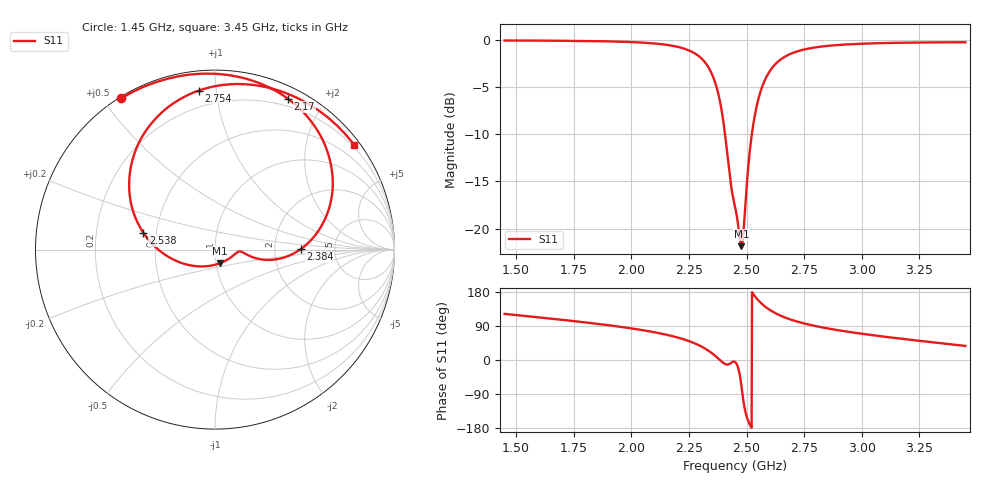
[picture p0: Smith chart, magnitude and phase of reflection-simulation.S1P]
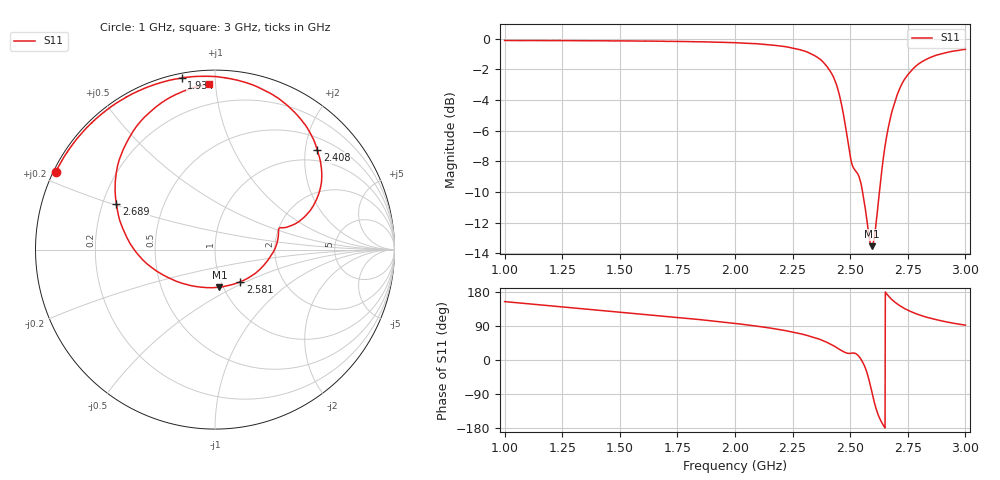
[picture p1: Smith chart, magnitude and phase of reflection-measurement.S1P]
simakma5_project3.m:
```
%% Initialization
close all; clear; clc; addpath(genpath(fullfile(pwd, 'Uni', 'grad', 'NKA', 'project3', 'script')));
s = settings;
s.matlab.appearance.figure.GraphicsTheme.TemporaryValue = "light";
fr = 2.45;
Z0 = 50;

%% Reflection coefficient
sim = sparameters(fullfile('data', 'reflection-simulation.S1P'));
f_sim = sim.Frequencies;
Gamma_sim = squeeze(sim.Parameters(1,1,:));

meas = sparameters(fullfile('data', 'reflection-measurement.S1P'));
f_meas = meas.Frequencies;
Gamma_meas = squeeze(meas.Parameters(1,1,:));

figure('Name', 'Reflection coefficint', 'Units', 'normalized', 'Position', [0, 0, 1, 1])
rfplot(sim)
hold on
rfplot(meas)
xline(fr, '--', num2str(fr))
yline(-10, '--', num2str(-10))
hold off
grid on
grid minor
xlim([max(f_sim(1), f_meas(1))*1e-9, min(f_sim(end), f_meas(end))*1e-9])
xlabel('Frequency [GHz]')
ylabel('|\Gamma| [dB]')
legend('Simulation', 'Measurement', 'location', 'southwest')
set(findall(gcf, '-property', 'FontSize'), 'FontSize', 26)
saveas(gcf, fullfile(pwd, '\Uni', '\grad', '\NKA', '\project3', '\report', '\src', '\reflection-coefficient'), 'epsc')

%% Input impedance
Zin_sim = 50*(1+Gamma_sim)./(1-Gamma_sim);
Zin_meas = 50*(1+Gamma_meas)./(1-Gamma_meas);

figure('Name', 'Input impedance', 'Units', 'normalized', 'Position', [0, 0, 1, 1])
plot(f_sim*1e-9, real(Zin_sim))
hold on
plot(f_sim*1e-9, imag(Zin_sim))
plot(f_meas*1e-9, real(Zin_meas))
plot(f_meas*1e-9, imag(Zin_meas))
xline(fr, '--', num2str(fr))
yline(50, '--', num2str(50))
hold off
grid on
grid minor
xlim([max(f_sim(1), f_meas(1))*1e-9, min(f_sim(end), f_meas(end))*1e-9])
xlabel('Frequency [GHz]')
ylabel('Input impedance [\Omega]')
legend('R_{in} (sim.)', 'X_{in} (sim.)', 'R_{in} (meas.)', 'X_{in} (meas.)', 'location', 'northwest')
set(findall(gcf, '-property', 'FontSize'), 'FontSize', 26)
saveas(gcf, fullfile(pwd, '\Uni', '\grad', '\NKA', '\project3', '\report', '\src', '\input-impedance'), 'epsc')

%% Axial ratio
fid = fopen(fullfile('data', 'axial-ratio.txt'), 'rt');
Data = textscan(fid, '%f %f', 'headerLines', 3, 'CollectOutput', true);
fclose(fid);
AR = Data{1,1};
f_AR = AR(:,1);
AR = AR(:,2);

figure('Name', 'Axial ratio', 'Units', 'normalized', 'Position', [0, 0, 1, 1])
plot(f_AR, AR)
hold on
xline(fr, '--', num2str(fr))
axis tight
grid on
grid minor
ylabel('Axial ratio [dB]')
set(findall(gcf, '-property', 'FontSize'), 'FontSize', 26)
saveas(gcf, fullfile(pwd, '\Uni', '\grad', '\NKA', '\project3', '\report', '\src', '\axial-ratio'), 'epsc')
```
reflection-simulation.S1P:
! TOUCHSTONE file generated by CST MICROWAVE STUDIO
! Date and time: Thu Jan 18 01:46:51 2024
! Project name: CPpatch.cst
! Parameters = {AirCoaxRadius=1.5; ChamferAngle=32; ChamferWidth=4.6; FeedYoffset=8; PatchLength=28.6; PatchWidth=28.6}
! Header version: 2018
! Port assignment regex: !\s*Touchstone port\s*([0-9]+)\s*=\s*(CST MWS port|CST DS port)\s*([0-9]+|Zmin|Zmax)\s*\(\"(.*)\"\)(\s*mode\s*([0-9]+))?.*
! Touchstone port assignment:
! Touchstone port 1 = CST MWS port 1 ("")
# GHz S DB R 50
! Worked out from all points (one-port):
!   1001 points, 1.45 GHz to 3.45 GHz, reference 50 ohm
!   lowest |S11| = -21.9 dB at 2.478 GHz (marker M1), VSWR 1.18, Z = 52.4 - j7.94 ohm
!   |S11| at or under -10 dB: 2.407 GHz to 2.523 GHz (116.5 MHz wide, 4.73 % of centre)
!   S11 on the Smith chart (normalised r, x): 1.45 GHz: 0.01, +0.56; 2.17 GHz: 0.12, +1.59; 2.384 GHz: 2.82, +0.01; 2.538 GHz: 0.42, +0.09; 2.754 GHz: 0.10, +0.90; 3.45 GHz: 0.15, +2.97
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1.45  -0.07 121.8
1.854  -0.14 95.3
2.118  -0.43 71.1
2.17  -0.60 64.2
2.316  -2.27 31.7
2.384  -6.43 0.2
2.478  -21.86 -68.9
2.538  -7.76 166.8
2.578  -4.36 142.2
2.634  -2.37 120.9
2.754  -1.01 95.8
2.784  -0.86 91.6
3.064  -0.37 64.2
3.45  -0.27 37.1
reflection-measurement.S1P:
!Agilent Technologies,E5071C,MY46105125,A.11.34
!Date: Wed Dec 20 12:06:09 2023
!Data & Calibration Information:
!Freq	S11:SOLT1(ON)
!PortZ  Port1:50+j0
!Above PortZ is port z conversion or system Z0 setting when saving the data.
!When reading, reference impedance value at option line is always used.
# Hz S dB R 50
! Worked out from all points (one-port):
!   1601 points, 1 GHz to 3 GHz, reference 50 ohm
!   lowest |S11| = -13.5 dB at 2.594 GHz (marker M1), VSWR 1.53, Z = 48 - j21 ohm
!   |S11| at or under -10 dB: 2.554 GHz to 2.627 GHz (73.01 MHz wide, 2.82 % of centre)
!   S11 on the Smith chart (normalised r, x): 1 GHz: 0.01, +0.23; 1.934 GHz: 0.02, +0.82; 2.408 GHz: 0.74, +2.25; 2.581 GHz: 1.23, -0.47; 2.689 GHz: 0.26, +0.21; 3 GHz: 0.08, +0.96
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1e9  -0.11 154.1
1.6675e9  -0.16 117.1
1.93375e9  -0.23 101.0
2.1775e9  -0.44 81.9
2.33375e9  -1.01 61.3
2.4075e9  -1.98 44.2
2.4575e9  -3.96 26.6
2.5525e9  -9.90 -4.0
2.58125e9  -12.83 -51.7
2.59375e9  -13.54 -83.4
2.645e9  -7.65 -173.6
2.68875e9  -4.37 155.3
2.80875e9  -1.52 117.2
3e9  -0.69 91.9
